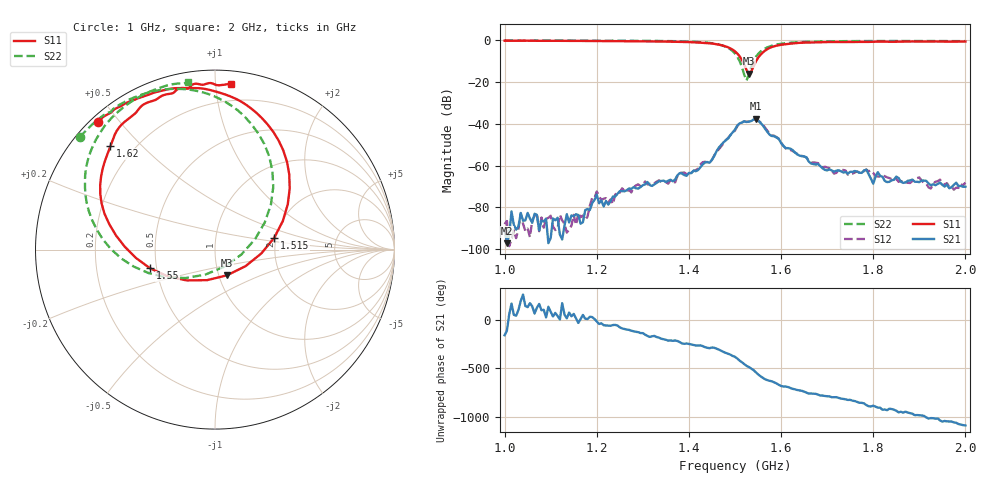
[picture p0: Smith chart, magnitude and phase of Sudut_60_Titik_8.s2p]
# Hz S RI R 50
! CMT, C1220, 16058040, 17.2.0/1
! Date: 14/08/2018 12:04:52
! Data: Format (Calibration Info)
! Freq  S11: Re/Im (F2)  S21: Re/Im (F2)  S12: Re/Im (F2)  S22: Re/Im (F2)
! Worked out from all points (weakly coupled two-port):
!   201 points, 1 GHz to 2 GHz, reference 50 ohm
!   highest |S21| = -37.60 dB at 1.545 GHz (marker M1); lowest = -97.2 dB at 1.005 GHz (marker M2)
!   lowest |S11| = -16.0 dB at 1.53 GHz (marker M3), VSWR 1.38, Z = 54.7 - j16.1 ohm
!   |S11| at or under -10 dB: 1.516 GHz to 1.546 GHz (29.77 MHz wide, 1.94 % of centre)
!   |S22| runs from -19.3 to -0.2 dB; largest |S21 - S12| = 0.00056
!   S11 on the Smith chart (normalised r, x): 1 GHz: 0.02, +0.44; 1.515 GHz: 1.95, +0.28; 1.55 GHz: 0.46, -0.11; 1.62 GHz: 0.12, +0.41; 2 GHz: 0.09, +1.10
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1e9  -0.6537 0.7098  -2.98e-05 -9.65e-06  4e-05 -1.66e-06  -0.7533 0.6257
1.005e9  -0.6468 0.7144  -5.47e-06 -1.27e-05  8.01e-06 -4.67e-05  -0.7498 0.6297
1.17e9  -0.4854 0.8211  3e-05 3.31e-05  5.96e-05 2.44e-05  -0.6161 0.7515
1.2e9  -0.444 0.8363  0.000192 -6.49e-05  0.000235 -5.55e-05  -0.5822 0.7649
1.215e9  -0.4306 0.8424  5.66e-05 -8.92e-05  8.58e-05 -0.000137  -0.5754 0.7734
1.235e9  -0.3966 0.8539  0.000101 -0.000152  7.67e-05 -9.25e-05  -0.5545 0.7928
1.255e9  -0.3613 0.8662  -5.79e-06 -0.000246  2.86e-05 -0.000285  -0.5286 0.8088
1.335e9  -0.2287 0.8988  -0.000419 4.68e-05  -0.000438 7.57e-05  -0.3996 0.8663
1.37e9  -0.1276 0.9  -0.000377 0.000272  -0.000298 0.000261  -0.3186 0.8866
1.445e9  0.1468 0.8238  0.000491 0.00106  0.000555 0.00104  -0.0065 0.8551
1.5e9  0.4161 0.3392  0.0066 -0.00304  0.00626 -0.00288  0.3245 0.3483
1.515e9  0.3291 0.0647  0.00179 -0.0105  0.00205 -0.0106  0.2222 0.0566
1.525e9  0.1697 -0.0925  -0.00506 -0.00979  -0.00505 -0.00994  0.0517 -0.0955
1.53e9  0.0667 -0.1433  -0.00708 -0.00868  -0.00715 -0.00877  -0.0551 -0.1396
1.545e9  -0.2655 -0.1485  -0.0132 0.000679  -0.013 0.000404  -0.3699 -0.1308
1.55e9  -0.3615 -0.1042  -0.0109 0.00498  -0.0111 0.00454  -0.4536 -0.0942
1.62e9  -0.5823 0.5768  0.00245 0.000666  0.00229 0.000616  -0.7092 0.4964
1.67e9  -0.4605 0.7455  0.000778 -0.000765  0.000845 -0.000846  -0.6257 0.6731
1.835e9  -0.1595 0.898  -0.000384 0.000139  -0.000454 0.000219  -0.375 0.8748
1.9e9  -0.0689 0.9184  -2.33e-05 0.000403  2.93e-05 0.000521  -0.2836 0.9096
1.925e9  -0.0327 0.9278  0.000151 0.000303  0.000103 0.000264  -0.2492 0.9186
2e9  0.0868 0.9203  0.000305 -6.65e-05  0.000384 -8.38e-05  -0.1507 0.9338
